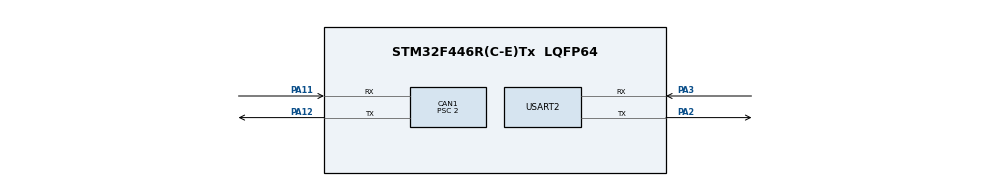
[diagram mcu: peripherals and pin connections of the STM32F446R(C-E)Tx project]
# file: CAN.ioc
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CAN1.AWUM=ENABLE
CAN1.BS1=CAN_BS1_13TQ
CAN1.BS2=CAN_BS2_2TQ
CAN1.CalculateBaudRate=500000
CAN1.CalculateTimeBit=2000
CAN1.CalculateTimeQuantum=125.0
CAN1.Mode=CAN_MODE_NORMAL
CAN1.Prescaler=2
Mcu.Family=STM32F4
Mcu.Name=STM32F446R(C-E)Tx
Mcu.Package=LQFP64
NVIC.CAN1_RX0_IRQn=true\:0\:0\:false\:false\:true\:true\:true\:true
NVIC.CAN1_RX1_IRQn=true\:0\:0\:false\:false\:true\:true\:true\:true
NVIC.PriorityGroup=NVIC_PRIORITYGROUP_4
PA11.Mode=CAN_Activate
PA11.Signal=CAN1_RX
PA12.Mode=CAN_Activate
PA12.Signal=CAN1_TX
PA2.Mode=Asynchronous
PA2.Signal=USART2_TX
PA3.Mode=Asynchronous
PA3.Signal=USART2_RX
ProjectManager.HeapSize=0x200
ProjectManager.StackSize=0x400
ProjectManager.TargetToolchain=STM32CubeIDE
RCC.CortexFreq_Value=16000000
RCC.USBFreq_Value=96000000
RCC.VCOOutputFreq_Value=192000000
USART2.VirtualMode=VM_ASYNC
board=custom

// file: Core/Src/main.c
/* USER CODE BEGIN Header */
/**
  ******************************************************************************
  * @file           : main.c
  * @brief          : Main program body
  ******************************************************************************
  * @attention
  *
  * Copyright (c) 2024 STMicroelectronics.
  * All rights reserved.
  *
  * This software is licensed under terms that can be found in the LICENSE file
  * in the root directory of this software component.
  * If no LICENSE file comes with this software, it is provided AS-IS.
  *
  ******************************************************************************
  */
/* USER CODE END Header */
#include "main.h"

/* USER CODE BEGIN Includes */
#include <stdio.h>
#include <string.h>

/* USER CODE END Includes */

CAN_HandleTypeDef hcan1;

UART_HandleTypeDef huart2;

/* USER CODE BEGIN PV */

char uart_buffer[500];

/* USER CODE END PV */

void SystemClock_Config(void);
static void MX_GPIO_Init(void);
static void MX_CAN1_Init(void);
static void MX_USART2_UART_Init(void);

/* USER CODE BEGIN 0 */

void HAL_CAN_RxFifo0MsgPendingCallback(CAN_HandleTypeDef *hcan) {
    CAN_RxHeaderTypeDef rxHeader;
    uint8_t rxData[8];

    //HAL_UART_Transmit(&huart2, (uint8_t *)"Callback executed\r\n", 20, HAL_MAX_DELAY);

    if (HAL_CAN_GetRxMessage(hcan, CAN_RX_FIFO0, &rxHeader, rxData) == HAL_OK) {
        snprintf(uart_buffer, sizeof(uart_buffer),
                 "CAN Msg: ID=0x%03lx, DLC=%d, Data=",
                 rxHeader.StdId, rxHeader.DLC);

        for (int i = 0; i < rxHeader.DLC; i++) {
            char byteStr[4];
            snprintf(byteStr, sizeof(byteStr), "%02X ", rxData[i]);
            strcat(uart_buffer, byteStr);
        }
        strcat(uart_buffer, "\r\n");

        HAL_UART_Transmit(&huart2, (uint8_t *)uart_buffer, strlen(uart_buffer), HAL_MAX_DELAY);
    } else {
        snprintf(uart_buffer, sizeof(uart_buffer), "Error receiving CAN message\r\n");
        HAL_UART_Transmit(&huart2, (uint8_t *)uart_buffer, strlen(uart_buffer), HAL_MAX_DELAY);
    }
}

/* USER CODE END 0 */

int main(void)
{

  /* USER CODE BEGIN 1 */
	/* Enviar tramas CAN
	 * CAN_TxHeaderTypeDef txHeader;
	uint8_t txData[8];
	uint32_t txMailbox;

	// Configurar o cabeçalho da mensagem CAN
	txHeader.DLC = 8; // Número de bytes de dados (de 0 a 8)
	txHeader.StdId = 0x123; // ID padrão (11 bits)
	txHeader.IDE = CAN_ID_STD; // Formato de ID padrão
	txHeader.RTR = CAN_RTR_DATA; // Mensagem de dados, não de solicitação

	// Preencher os dados a serem enviados
	txData[0] = 0x01;
	txData[1] = 0x02;
	txData[2] = 0x03;
	txData[3] = 0x04;
	txData[4] = 0x05;
	txData[5] = 0x06;
	txData[6] = 0x07;
	txData[7] = 0x08;*/

  /* USER CODE END 1 */

  /* MCU Configuration--------------------------------------------------------*/

  /* Reset of all peripherals, Initializes the Flash interface and the Systick. */
  HAL_Init();

  /* Configure the system clock */
  SystemClock_Config();

  /* Initialize all configured peripherals */
  MX_GPIO_Init();
  MX_CAN1_Init();
  MX_USART2_UART_Init();
  /* USER CODE BEGIN 2 */

	CAN_FilterTypeDef canFilterConfig;

	canFilterConfig.FilterActivation = CAN_FILTER_ENABLE; // Ativar filtro
	canFilterConfig.FilterBank = 0; // Primeiro banco de filtros
	canFilterConfig.FilterFIFOAssignment = CAN_RX_FIFO0; // Usar FIFO0
	canFilterConfig.FilterIdHigh = 0x0000; // ID alto (aceitar qualquer ID)
	canFilterConfig.FilterIdLow = 0x0000;  // ID baixo (aceitar qualquer ID)
	canFilterConfig.FilterMaskIdHigh = 0x0000; // Máscara alta
	canFilterConfig.FilterMaskIdLow = 0x0000;  // Máscara baixa
	canFilterConfig.FilterMode = CAN_FILTERMODE_IDMASK; // Modo de máscara
	canFilterConfig.FilterScale = CAN_FILTERSCALE_32BIT; // Filtro de 32 bits

	if (HAL_CAN_ConfigFilter(&hcan1, &canFilterConfig) != HAL_OK) {
	    HAL_UART_Transmit(&huart2, (uint8_t *)"Filter Config Error\r\n", 22, HAL_MAX_DELAY);
	}

  snprintf(uart_buffer, sizeof(uart_buffer), "STM32 CAN Receiver Starting\r\n");
  HAL_UART_Transmit(&huart2, (uint8_t*)uart_buffer, strlen(uart_buffer), HAL_MAX_DELAY);

  // Inicia o CAN
  if (HAL_CAN_Start(&hcan1) != HAL_OK) {
	  uint32_t can_error = HAL_CAN_GetError(&hcan1);
	  snprintf(uart_buffer, sizeof(uart_buffer), "CAN Error Code: 0x%08lx\r\n", can_error);
	  HAL_UART_Transmit(&huart2, (uint8_t *)uart_buffer, strlen(uart_buffer), HAL_MAX_DELAY);
	  Custom_Error_Handler("STM32 CAN Receiver Error: CAN couldn't start\r\n");
  }

  // Ativa notificações de mensagens recebidas
  if (HAL_CAN_ActivateNotification(&hcan1, CAN_IT_RX_FIFO0_MSG_PENDING) != HAL_OK) {
    Custom_Error_Handler("STM32 CAN Receiver Error: CAN couldn't activate notifications\r\n");
  }

  snprintf(uart_buffer, sizeof(uart_buffer), "STM32 CAN Receiver Ready!\r\n");
  HAL_UART_Transmit(&huart2, (uint8_t*)uart_buffer, strlen(uart_buffer), HAL_MAX_DELAY);
  /* USER CODE END 2 */

  /* Infinite loop */
  while (1)
  {

    /* USER CODE BEGIN 3 */

	  uint32_t canError = HAL_CAN_GetError(&hcan1);
	  if (canError != HAL_CAN_ERROR_NONE) {
	      snprintf(uart_buffer, sizeof(uart_buffer), "CAN Error: 0x%08lx\r\n", canError);
	      HAL_UART_Transmit(&huart2, (uint8_t *)uart_buffer, strlen(uart_buffer), HAL_MAX_DELAY);
	  }
	    /*// Enviar a mensagem CAN
	    if (HAL_CAN_AddTxMessage(&hcan1, &txHeader, txData, &txMailbox) != HAL_OK) {
	        // Erro na transmissão
	        snprintf(uart_buffer, sizeof(uart_buffer), "Error: CAN Tx failed\r\n");
	        HAL_UART_Transmit(&huart2, (uint8_t*)uart_buffer, strlen(uart_buffer), HAL_MAX_DELAY);
	    } else {
	        // Sucesso na transmissão
	        snprintf(uart_buffer, sizeof(uart_buffer), "Message sent!\r\n");
	        HAL_UART_Transmit(&huart2, (uint8_t*)uart_buffer, strlen(uart_buffer), HAL_MAX_DELAY);
	    }

	    HAL_Delay(1000); // Aguardar 1 segundo antes de enviar novamente */
  }
  /* USER CODE END 3 */
}

void SystemClock_Config(void)
{
  RCC_OscInitTypeDef RCC_OscInitStruct = {0};
  RCC_ClkInitTypeDef RCC_ClkInitStruct = {0};

  /** Configure the main internal regulator output voltage
  */
  __HAL_RCC_PWR_CLK_ENABLE();
  __HAL_PWR_VOLTAGESCALING_CONFIG(PWR_REGULATOR_VOLTAGE_SCALE3);

  /** Initializes the RCC Oscillators according to the specified parameters
  * in the RCC_OscInitTypeDef structure.
  */
  RCC_OscInitStruct.OscillatorType = RCC_OSCILLATORTYPE_HSI;
  RCC_OscInitStruct.HSIState = RCC_HSI_ON;
  RCC_OscInitStruct.HSICalibrationValue = RCC_HSICALIBRATION_DEFAULT;
  RCC_OscInitStruct.PLL.PLLState = RCC_PLL_NONE;
  if (HAL_RCC_OscConfig(&RCC_OscInitStruct) != HAL_OK)
  {
    Error_Handler();
  }

  /** Initializes the CPU, AHB and APB buses clocks
  */
  RCC_ClkInitStruct.ClockType = RCC_CLOCKTYPE_HCLK|RCC_CLOCKTYPE_SYSCLK
                              |RCC_CLOCKTYPE_PCLK1|RCC_CLOCKTYPE_PCLK2;
  RCC_ClkInitStruct.SYSCLKSource = RCC_SYSCLKSOURCE_HSI;
  RCC_ClkInitStruct.AHBCLKDivider = RCC_SYSCLK_DIV1;
  RCC_ClkInitStruct.APB1CLKDivider = RCC_HCLK_DIV1;
  RCC_ClkInitStruct.APB2CLKDivider = RCC_HCLK_DIV1;

  if (HAL_RCC_ClockConfig(&RCC_ClkInitStruct, FLASH_LATENCY_0) != HAL_OK)
  {
    Error_Handler();
  }
}

static void MX_CAN1_Init(void)
{

  hcan1.Instance = CAN1;
  hcan1.Init.Prescaler = 2;
  hcan1.Init.Mode = CAN_MODE_NORMAL;
  hcan1.Init.SyncJumpWidth = CAN_SJW_1TQ;
  hcan1.Init.TimeSeg1 = CAN_BS1_13TQ;
  hcan1.Init.TimeSeg2 = CAN_BS2_2TQ;
  hcan1.Init.TimeTriggeredMode = DISABLE;
  hcan1.Init.AutoBusOff = DISABLE;
  hcan1.Init.AutoWakeUp = ENABLE;
  hcan1.Init.AutoRetransmission = DISABLE;
  hcan1.Init.ReceiveFifoLocked = DISABLE;
  hcan1.Init.TransmitFifoPriority = DISABLE;
  if (HAL_CAN_Init(&hcan1) != HAL_OK)
  {
    Error_Handler();
  }

}

static void MX_USART2_UART_Init(void)
{

  huart2.Instance = USART2;
  huart2.Init.BaudRate = 115200;
  huart2.Init.WordLength = UART_WORDLENGTH_8B;
  huart2.Init.StopBits = UART_STOPBITS_1;
  huart2.Init.Parity = UART_PARITY_NONE;
  huart2.Init.Mode = UART_MODE_TX_RX;
  huart2.Init.HwFlowCtl = UART_HWCONTROL_NONE;
  huart2.Init.OverSampling = UART_OVERSAMPLING_16;
  if (HAL_UART_Init(&huart2) != HAL_OK)
  {
    Error_Handler();
  }

}

static void MX_GPIO_Init(void)
{

  /* GPIO Ports Clock Enable */
  __HAL_RCC_GPIOA_CLK_ENABLE();

}

/* USER CODE BEGIN 4 */

void Custom_Error_Handler(char *message)
{
  snprintf(uart_buffer, sizeof(uart_buffer), "Error: %s\r\n", message);
  HAL_UART_Transmit(&huart2, (uint8_t*)uart_buffer, strlen(uart_buffer), HAL_MAX_DELAY);

  __disable_irq();
  while (1)
  {
  }
}
/* USER CODE END 4 */

void Error_Handler(void)
{
  /* USER CODE BEGIN Error_Handler_Debug */
  snprintf(uart_buffer, sizeof(uart_buffer), "Error Handler\r\n");
  HAL_UART_Transmit(&huart2, (uint8_t*)uart_buffer, strlen(uart_buffer), HAL_MAX_DELAY);

  /* User can add his own implementation to report the HAL error return state */
  __disable_irq();
  while (1)
  {
  }
  /* USER CODE END Error_Handler_Debug */
}
